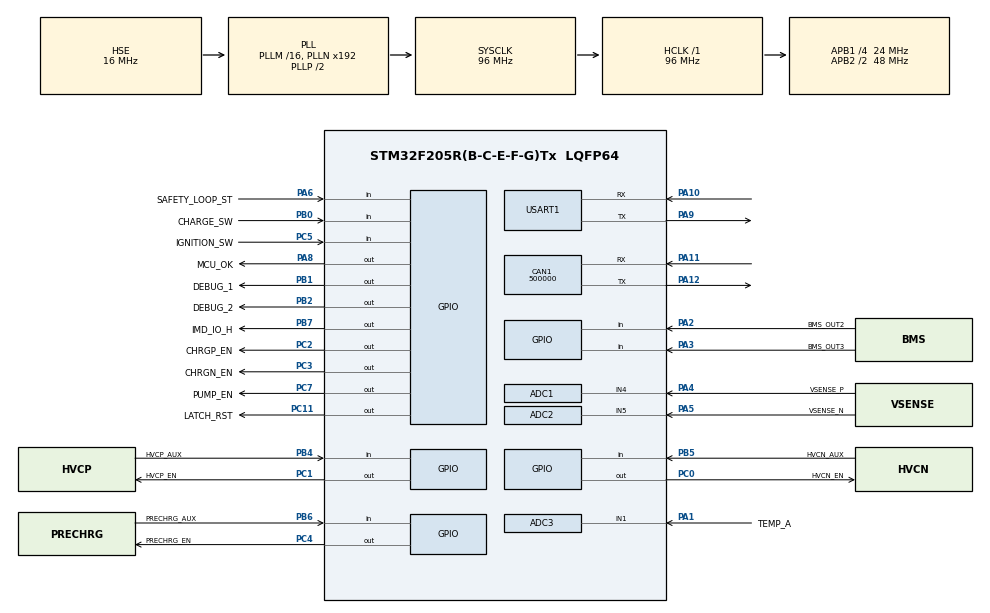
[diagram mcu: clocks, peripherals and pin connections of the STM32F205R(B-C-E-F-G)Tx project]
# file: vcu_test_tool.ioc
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ADC1.Channel-1\#ChannelRegularConversion=ADC_CHANNEL_4
ADC1.NbrOfConversionFlag=1
ADC1.Rank-1\#ChannelRegularConversion=1
ADC1.SamplingTime-1\#ChannelRegularConversion=ADC_SAMPLETIME_3CYCLES
ADC1.master=1
ADC2.Channel-0\#ChannelRegularConversion=ADC_CHANNEL_5
ADC2.ClockPrescaler=ADC_CLOCK_SYNC_PCLK_DIV2
ADC2.NbrOfConversionFlag=1
ADC2.Rank-0\#ChannelRegularConversion=1
ADC2.SamplingTime-0\#ChannelRegularConversion=ADC_SAMPLETIME_3CYCLES
ADC3.Channel-0\#ChannelRegularConversion=ADC_CHANNEL_1
ADC3.NbrOfConversionFlag=1
ADC3.Rank-0\#ChannelRegularConversion=1
ADC3.SamplingTime-0\#ChannelRegularConversion=ADC_SAMPLETIME_3CYCLES
CAN1.BS1=CAN_BS1_1TQ
CAN1.BS2=CAN_BS2_1TQ
CAN1.CalculateBaudRate=500000
CAN1.CalculateTimeBit=2000
CAN1.CalculateTimeQuantum=666.6666666666666
Mcu.Family=STM32F2
Mcu.Name=STM32F205R(B-C-E-F-G)Tx
Mcu.Package=LQFP64
NVIC.PriorityGroup=NVIC_PRIORITYGROUP_4
NVIC.USART1_IRQn=true\:0\:0\:false\:false\:true\:true\:true\:true
PA1.GPIO_Label=TEMP_A
PA1.Signal=ADCx_IN1
PA10.Mode=Asynchronous
PA10.Signal=USART1_RX
PA11.Mode=CAN_Activate
PA11.Signal=CAN1_RX
PA12.Mode=CAN_Activate
PA12.Signal=CAN1_TX
PA2.GPIO_Label=BMS_OUT2
PA2.GPIO_PuPd=GPIO_PULLDOWN
PA2.Signal=GPIO_Input
PA3.GPIO_Label=BMS_OUT3
PA3.GPIO_PuPd=GPIO_PULLDOWN
PA3.Signal=GPIO_Input
PA4.GPIO_Label=VSENSE_P
PA4.Signal=ADCx_IN4
PA5.GPIO_Label=VSENSE_N
PA5.Signal=ADCx_IN5
PA6.GPIO_Label=SAFETY_LOOP_ST
PA6.Signal=GPIO_Input
PA8.GPIO_Label=MCU_OK
PA8.Signal=GPIO_Output
PA9.Mode=Asynchronous
PA9.Signal=USART1_TX
PB0.GPIO_Label=CHARGE_SW
PB0.GPIO_PuPd=GPIO_PULLDOWN
PB0.Signal=GPIO_Input
PB1.GPIO_Label=DEBUG_1
PB1.Signal=GPIO_Output
PB2.GPIO_Label=DEBUG_2
PB2.Signal=GPIO_Output
PB4.GPIO_Label=HVCP_AUX
PB4.GPIO_PuPd=GPIO_PULLDOWN
PB4.Signal=GPIO_Input
PB5.GPIO_Label=HVCN_AUX
PB5.GPIO_PuPd=GPIO_PULLDOWN
PB5.Signal=GPIO_Input
PB6.GPIO_Label=PRECHRG_AUX
PB6.GPIO_PuPd=GPIO_PULLDOWN
PB6.Signal=GPIO_Input
PB7.GPIO_Label=IMD_IO_H
PB7.Signal=GPIO_Output
PC0.GPIO_Label=HVCN_EN
PC0.Signal=GPIO_Output
PC1.GPIO_Label=HVCP_EN
PC1.Signal=GPIO_Output
PC11.GPIO_Label=LATCH_RST
PC11.Signal=GPIO_Output
PC2.GPIO_Label=CHRGP_EN
PC2.Signal=GPIO_Output
PC3.GPIO_Label=CHRGN_EN
PC3.Signal=GPIO_Output
PC4.GPIO_Label=PRECHRG_EN
PC4.GPIO_PuPd=GPIO_NOPULL
PC4.Signal=GPIO_Output
PC5.GPIO_Label=IGNITION_SW
PC5.GPIO_PuPd=GPIO_PULLDOWN
PC5.Signal=GPIO_Input
PC7.GPIO_Label=PUMP_EN
PC7.Signal=GPIO_Output
PH0-OSC_IN.Mode=HSE-External-Oscillator
PH0-OSC_IN.Signal=RCC_OSC_IN
PH1-OSC_OUT.Mode=HSE-External-Oscillator
PH1-OSC_OUT.Signal=RCC_OSC_OUT
ProjectManager.HeapSize=0x200
ProjectManager.StackSize=0x400
ProjectManager.TargetToolchain=Makefile
RCC.48MHZClocksFreq_Value=48000000
RCC.AHBFreq_Value=96000000
RCC.APB1CLKDivider=RCC_HCLK_DIV4
RCC.APB1Freq_Value=24000000
RCC.APB1TimFreq_Value=48000000
RCC.APB2CLKDivider=RCC_HCLK_DIV2
RCC.APB2Freq_Value=48000000
RCC.APB2TimFreq_Value=96000000
RCC.CortexFreq_Value=96000000
RCC.HCLKFreq_Value=96000000
RCC.HSE_VALUE=16000000
RCC.HSI_VALUE=16000000
RCC.LSE_VALUE=32768
RCC.PLLSourceVirtual=RCC_PLLSOURCE_HSE
RCC.SYSCLKFreq_VALUE=96000000
RCC.SYSCLKSource=RCC_SYSCLKSOURCE_PLLCLK
RCC.VCOOutputFreq_Value=192000000
SH.ADCx_IN1.0=ADC3_IN1,IN1
SH.ADCx_IN4.0=ADC1_IN4,IN4
SH.ADCx_IN5.0=ADC2_IN5,IN5
USART1.VirtualMode=VM_ASYNC
board=custom

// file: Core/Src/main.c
/* USER CODE BEGIN Header */
/**
 ******************************************************************************
 * @file           : main.c
 * @brief          : Main program body
 ******************************************************************************
 * @attention
 *
 * Copyright (c) 2025 STMicroelectronics.
 * All rights reserved.
 *
 * This software is licensed under terms that can be found in the LICENSE file
 * in the root directory of this software component.
 * If no LICENSE file comes with this software, it is provided AS-IS.
 *
 ******************************************************************************
 */
/* USER CODE END Header */
#include "main.h"

/* USER CODE BEGIN Includes */
#include "cli.h"
#include "stm32f2xx_hal_gpio.h"
#include <stdio.h>
#include <string.h>
/* USER CODE END Includes */

/* USER CODE BEGIN PD */
static cli_status_t set_func(int argc, char **argv);
static cli_status_t reset_func(int argc, char **argv);
static cli_status_t read_func(int argc, char **argv);
static cli_status_t help_func(int argc, char **argv);
static cli_status_t vsense_func(int argc, char **argv);
void user_uart_println(char *string);
/* USER CODE END PD */

/* USER CODE BEGIN PM */
#define ADC_DELAY 10 // in milliseconds

/* USER CODE END PM */

ADC_HandleTypeDef hadc1;
ADC_HandleTypeDef hadc2;
ADC_HandleTypeDef hadc3;

CAN_HandleTypeDef hcan1;

UART_HandleTypeDef huart1;

/* USER CODE BEGIN PV */
cmd_t cmd_tbl[] = {
    {.cmd = "set", .func = set_func},
    {.cmd = "reset", .func = reset_func},
    {.cmd = "read", .func = read_func},
    {.cmd = "help", .func = help_func},
    {.cmd = "vsense", .func = vsense_func},
};

cli_t cli;
uint8_t rx_data[2];
/* USER CODE END PV */

void SystemClock_Config(void);
static void MX_GPIO_Init(void);
static void MX_ADC1_Init(void);
static void MX_ADC2_Init(void);
static void MX_CAN1_Init(void);
static void MX_USART1_UART_Init(void);
static void MX_ADC3_Init(void);

int main(void) {

  /* MCU Configuration--------------------------------------------------------*/

  /* Reset of all peripherals, Initializes the Flash interface and the Systick.
   */
  HAL_Init();

  /* Configure the system clock */
  SystemClock_Config();

  /* Initialize all configured peripherals */
  MX_GPIO_Init();
  MX_ADC1_Init();
  MX_ADC2_Init();
  MX_CAN1_Init();
  MX_USART1_UART_Init();
  MX_ADC3_Init();
  /* USER CODE BEGIN 2 */
  // configuring the cli lib
  cli.println = user_uart_println;
  cli.cmd_tbl = cmd_tbl;
  cli.cmd_cnt = sizeof(cmd_tbl) / sizeof(cmd_t);
  HAL_GPIO_WritePin(LATCH_RST_GPIO_Port, LATCH_RST_Pin, GPIO_PIN_SET);
  cli.println("VCU (v1.0) Test Suite v0.1\r\n");
  cli_init(&cli);
  // configuring the HAL uart interupt
  HAL_UART_Receive_IT(&huart1, rx_data, 1);
  /* USER CODE END 2 */

  /* Infinite loop */
  /* USER CODE BEGIN WHILE */
  while (1) {
    cli_process(&cli);
    /* USER CODE END WHILE */

  }
}

void SystemClock_Config(void) {
  RCC_OscInitTypeDef RCC_OscInitStruct = {0};
  RCC_ClkInitTypeDef RCC_ClkInitStruct = {0};

  /** Initializes the RCC Oscillators according to the specified parameters
   * in the RCC_OscInitTypeDef structure.
   */
  RCC_OscInitStruct.OscillatorType = RCC_OSCILLATORTYPE_HSE;
  RCC_OscInitStruct.HSEState = RCC_HSE_ON;
  RCC_OscInitStruct.PLL.PLLState = RCC_PLL_ON;
  RCC_OscInitStruct.PLL.PLLSource = RCC_PLLSOURCE_HSE;
  RCC_OscInitStruct.PLL.PLLM = 16;
  RCC_OscInitStruct.PLL.PLLN = 192;
  RCC_OscInitStruct.PLL.PLLP = RCC_PLLP_DIV2;
  RCC_OscInitStruct.PLL.PLLQ = 4;
  if (HAL_RCC_OscConfig(&RCC_OscInitStruct) != HAL_OK) {
    Error_Handler();
  }

  /** Initializes the CPU, AHB and APB buses clocks
   */
  RCC_ClkInitStruct.ClockType = RCC_CLOCKTYPE_HCLK | RCC_CLOCKTYPE_SYSCLK |
                                RCC_CLOCKTYPE_PCLK1 | RCC_CLOCKTYPE_PCLK2;
  RCC_ClkInitStruct.SYSCLKSource = RCC_SYSCLKSOURCE_PLLCLK;
  RCC_ClkInitStruct.AHBCLKDivider = RCC_SYSCLK_DIV1;
  RCC_ClkInitStruct.APB1CLKDivider = RCC_HCLK_DIV4;
  RCC_ClkInitStruct.APB2CLKDivider = RCC_HCLK_DIV2;

  if (HAL_RCC_ClockConfig(&RCC_ClkInitStruct, FLASH_LATENCY_3) != HAL_OK) {
    Error_Handler();
  }
}

static void MX_ADC1_Init(void) {

  ADC_ChannelConfTypeDef sConfig = {0};

  /** Configure the global features of the ADC (Clock, Resolution, Data
   * Alignment and number of conversion)
   */
  hadc1.Instance = ADC1;
  hadc1.Init.ClockPrescaler = ADC_CLOCK_SYNC_PCLK_DIV2;
  hadc1.Init.Resolution = ADC_RESOLUTION_12B;
  hadc1.Init.ScanConvMode = DISABLE;
  hadc1.Init.ContinuousConvMode = DISABLE;
  hadc1.Init.DiscontinuousConvMode = DISABLE;
  hadc1.Init.ExternalTrigConvEdge = ADC_EXTERNALTRIGCONVEDGE_NONE;
  hadc1.Init.ExternalTrigConv = ADC_SOFTWARE_START;
  hadc1.Init.DataAlign = ADC_DATAALIGN_RIGHT;
  hadc1.Init.NbrOfConversion = 1;
  hadc1.Init.DMAContinuousRequests = DISABLE;
  hadc1.Init.EOCSelection = ADC_EOC_SINGLE_CONV;
  if (HAL_ADC_Init(&hadc1) != HAL_OK) {
    Error_Handler();
  }

  /** Configure for the selected ADC regular channel its corresponding rank in
   * the sequencer and its sample time.
   */
  sConfig.Channel = ADC_CHANNEL_4;
  sConfig.Rank = 1;
  sConfig.SamplingTime = ADC_SAMPLETIME_3CYCLES;
  if (HAL_ADC_ConfigChannel(&hadc1, &sConfig) != HAL_OK) {
    Error_Handler();
  }
}

static void MX_ADC2_Init(void) {

  ADC_ChannelConfTypeDef sConfig = {0};

  /** Configure the global features of the ADC (Clock, Resolution, Data
   * Alignment and number of conversion)
   */
  hadc2.Instance = ADC2;
  hadc2.Init.ClockPrescaler = ADC_CLOCK_SYNC_PCLK_DIV2;
  hadc2.Init.Resolution = ADC_RESOLUTION_12B;
  hadc2.Init.ScanConvMode = DISABLE;
  hadc2.Init.ContinuousConvMode = DISABLE;
  hadc2.Init.DiscontinuousConvMode = DISABLE;
  hadc2.Init.ExternalTrigConvEdge = ADC_EXTERNALTRIGCONVEDGE_NONE;
  hadc2.Init.ExternalTrigConv = ADC_SOFTWARE_START;
  hadc2.Init.DataAlign = ADC_DATAALIGN_RIGHT;
  hadc2.Init.NbrOfConversion = 1;
  hadc2.Init.DMAContinuousRequests = DISABLE;
  hadc2.Init.EOCSelection = ADC_EOC_SINGLE_CONV;
  if (HAL_ADC_Init(&hadc2) != HAL_OK) {
    Error_Handler();
  }

  /** Configure for the selected ADC regular channel its corresponding rank in
   * the sequencer and its sample time.
   */
  sConfig.Channel = ADC_CHANNEL_5;
  sConfig.Rank = 1;
  sConfig.SamplingTime = ADC_SAMPLETIME_3CYCLES;
  if (HAL_ADC_ConfigChannel(&hadc2, &sConfig) != HAL_OK) {
    Error_Handler();
  }
}

static void MX_ADC3_Init(void) {

  ADC_ChannelConfTypeDef sConfig = {0};

  /** Configure the global features of the ADC (Clock, Resolution, Data
   * Alignment and number of conversion)
   */
  hadc3.Instance = ADC3;
  hadc3.Init.ClockPrescaler = ADC_CLOCK_SYNC_PCLK_DIV2;
  hadc3.Init.Resolution = ADC_RESOLUTION_12B;
  hadc3.Init.ScanConvMode = DISABLE;
  hadc3.Init.ContinuousConvMode = DISABLE;
  hadc3.Init.DiscontinuousConvMode = DISABLE;
  hadc3.Init.ExternalTrigConvEdge = ADC_EXTERNALTRIGCONVEDGE_NONE;
  hadc3.Init.ExternalTrigConv = ADC_SOFTWARE_START;
  hadc3.Init.DataAlign = ADC_DATAALIGN_RIGHT;
  hadc3.Init.NbrOfConversion = 1;
  hadc3.Init.DMAContinuousRequests = DISABLE;
  hadc3.Init.EOCSelection = ADC_EOC_SINGLE_CONV;
  if (HAL_ADC_Init(&hadc3) != HAL_OK) {
    Error_Handler();
  }

  /** Configure for the selected ADC regular channel its corresponding rank in
   * the sequencer and its sample time.
   */
  sConfig.Channel = ADC_CHANNEL_1;
  sConfig.Rank = 1;
  sConfig.SamplingTime = ADC_SAMPLETIME_3CYCLES;
  if (HAL_ADC_ConfigChannel(&hadc3, &sConfig) != HAL_OK) {
    Error_Handler();
  }
}

static void MX_CAN1_Init(void) {

  hcan1.Instance = CAN1;
  hcan1.Init.Prescaler = 16;
  hcan1.Init.Mode = CAN_MODE_NORMAL;
  hcan1.Init.SyncJumpWidth = CAN_SJW_1TQ;
  hcan1.Init.TimeSeg1 = CAN_BS1_1TQ;
  hcan1.Init.TimeSeg2 = CAN_BS2_1TQ;
  hcan1.Init.TimeTriggeredMode = DISABLE;
  hcan1.Init.AutoBusOff = DISABLE;
  hcan1.Init.AutoWakeUp = DISABLE;
  hcan1.Init.AutoRetransmission = DISABLE;
  hcan1.Init.ReceiveFifoLocked = DISABLE;
  hcan1.Init.TransmitFifoPriority = DISABLE;
  if (HAL_CAN_Init(&hcan1) != HAL_OK) {
    Error_Handler();
  }
}

static void MX_USART1_UART_Init(void) {

  huart1.Instance = USART1;
  huart1.Init.BaudRate = 115200;
  huart1.Init.WordLength = UART_WORDLENGTH_8B;
  huart1.Init.StopBits = UART_STOPBITS_1;
  huart1.Init.Parity = UART_PARITY_NONE;
  huart1.Init.Mode = UART_MODE_TX_RX;
  huart1.Init.HwFlowCtl = UART_HWCONTROL_NONE;
  huart1.Init.OverSampling = UART_OVERSAMPLING_16;
  if (HAL_UART_Init(&huart1) != HAL_OK) {
    Error_Handler();
  }
}

static void MX_GPIO_Init(void) {
  GPIO_InitTypeDef GPIO_InitStruct = {0};

  /* GPIO Ports Clock Enable */
  __HAL_RCC_GPIOH_CLK_ENABLE();
  __HAL_RCC_GPIOC_CLK_ENABLE();
  __HAL_RCC_GPIOA_CLK_ENABLE();
  __HAL_RCC_GPIOB_CLK_ENABLE();

  /*Configure GPIO pin Output Level */
  HAL_GPIO_WritePin(GPIOC,
                    HVCN_EN_Pin | HVCP_EN_Pin | CHRGP_EN_Pin | CHRGN_EN_Pin |
                        PRECHRG_EN_Pin | PUMP_EN_Pin | LATCH_RST_Pin,
                    GPIO_PIN_RESET);

  /*Configure GPIO pin Output Level */
  HAL_GPIO_WritePin(GPIOB, DEBUG_1_Pin | DEBUG_2_Pin | IMD_IO_H_Pin,
                    GPIO_PIN_RESET);

  /*Configure GPIO pin Output Level */
  HAL_GPIO_WritePin(MCU_OK_GPIO_Port, MCU_OK_Pin, GPIO_PIN_RESET);

  /*Configure GPIO pins : HVCN_EN_Pin HVCP_EN_Pin CHRGP_EN_Pin CHRGN_EN_Pin
                           PRECHRG_EN_Pin PUMP_EN_Pin LATCH_RST_Pin */
  GPIO_InitStruct.Pin = HVCN_EN_Pin | HVCP_EN_Pin | CHRGP_EN_Pin |
                        CHRGN_EN_Pin | PRECHRG_EN_Pin | PUMP_EN_Pin |
                        LATCH_RST_Pin;
  GPIO_InitStruct.Mode = GPIO_MODE_OUTPUT_PP;
  GPIO_InitStruct.Pull = GPIO_NOPULL;
  GPIO_InitStruct.Speed = GPIO_SPEED_FREQ_LOW;
  HAL_GPIO_Init(GPIOC, &GPIO_InitStruct);

  /*Configure GPIO pins : BMS_OUT2_Pin BMS_OUT3_Pin */
  GPIO_InitStruct.Pin = BMS_OUT2_Pin | BMS_OUT3_Pin;
  GPIO_InitStruct.Mode = GPIO_MODE_INPUT;
  GPIO_InitStruct.Pull = GPIO_PULLDOWN;
  HAL_GPIO_Init(GPIOA, &GPIO_InitStruct);

  /*Configure GPIO pin : SAFETY_LOOP_ST_Pin */
  GPIO_InitStruct.Pin = SAFETY_LOOP_ST_Pin;
  GPIO_InitStruct.Mode = GPIO_MODE_INPUT;
  GPIO_InitStruct.Pull = GPIO_NOPULL;
  HAL_GPIO_Init(SAFETY_LOOP_ST_GPIO_Port, &GPIO_InitStruct);

  /*Configure GPIO pin : IGNITION_SW_Pin */
  GPIO_InitStruct.Pin = IGNITION_SW_Pin;
  GPIO_InitStruct.Mode = GPIO_MODE_INPUT;
  GPIO_InitStruct.Pull = GPIO_PULLDOWN;
  HAL_GPIO_Init(IGNITION_SW_GPIO_Port, &GPIO_InitStruct);

  /*Configure GPIO pins : CHARGE_SW_Pin HVCP_AUX_Pin HVCN_AUX_Pin
   * PRECHRG_AUX_Pin */
  GPIO_InitStruct.Pin =
      CHARGE_SW_Pin | HVCP_AUX_Pin | HVCN_AUX_Pin | PRECHRG_AUX_Pin;
  GPIO_InitStruct.Mode = GPIO_MODE_INPUT;
  GPIO_InitStruct.Pull = GPIO_PULLDOWN;
  HAL_GPIO_Init(GPIOB, &GPIO_InitStruct);

  /*Configure GPIO pins : DEBUG_1_Pin DEBUG_2_Pin IMD_IO_H_Pin */
  GPIO_InitStruct.Pin = DEBUG_1_Pin | DEBUG_2_Pin | IMD_IO_H_Pin;
  GPIO_InitStruct.Mode = GPIO_MODE_OUTPUT_PP;
  GPIO_InitStruct.Pull = GPIO_NOPULL;
  GPIO_InitStruct.Speed = GPIO_SPEED_FREQ_LOW;
  HAL_GPIO_Init(GPIOB, &GPIO_InitStruct);

  /*Configure GPIO pin : MCU_OK_Pin */
  GPIO_InitStruct.Pin = MCU_OK_Pin;
  GPIO_InitStruct.Mode = GPIO_MODE_OUTPUT_PP;
  GPIO_InitStruct.Pull = GPIO_NOPULL;
  GPIO_InitStruct.Speed = GPIO_SPEED_FREQ_LOW;
  HAL_GPIO_Init(MCU_OK_GPIO_Port, &GPIO_InitStruct);

}

/* USER CODE BEGIN 4 */
void HAL_UART_RxCpltCallback(UART_HandleTypeDef *huart) {
  HAL_UART_Receive_IT(&huart1, rx_data, 1);
  cli_put(&cli, rx_data[0]);
  user_uart_println((char *)rx_data);
}

void user_uart_println(char *string) {
  HAL_UART_Transmit(&huart1, (uint8_t *)string, strlen(string), HAL_MAX_DELAY);
}

cli_status_t set_func(int argc, char **argv) {
  if (argc == 2) {
    if (strcmp(argv[1], "--help") == 0) {
      cli.println("Pass the pin name as an argument to the function...");
    } else if (strcmp(argv[1], "MCU_OK") == 0) {
      HAL_GPIO_WritePin(MCU_OK_GPIO_Port, MCU_OK_Pin, GPIO_PIN_SET);
      cli.println("SET MCU_OK");
    } else if (strcmp(argv[1], "DEBUG_1") == 0) {
      HAL_GPIO_WritePin(DEBUG_1_GPIO_Port, DEBUG_1_Pin, GPIO_PIN_SET);
      cli.println("SET DEBUG_1");
    } else if (strcmp(argv[1], "DEBUG_2") == 0) {
      HAL_GPIO_WritePin(DEBUG_2_GPIO_Port, DEBUG_2_Pin, GPIO_PIN_SET);
      cli.println("SET DEBUG_2");
    } else if (strcmp(argv[1], "HVCN_EN") == 0) {
      HAL_GPIO_WritePin(HVCN_EN_GPIO_Port, HVCN_EN_Pin, GPIO_PIN_SET);
      cli.println("SET HVCN_EN");
    } else if (strcmp(argv[1], "HVCP_EN") == 0) {
      HAL_GPIO_WritePin(HVCP_EN_GPIO_Port, HVCP_EN_Pin, GPIO_PIN_SET);
      cli.println("SET HVCP_EN");
    } else if (strcmp(argv[1], "CHRGN_EN") == 0) {
      HAL_GPIO_WritePin(CHRGN_EN_GPIO_Port, CHRGN_EN_Pin, GPIO_PIN_SET);
      cli.println("SET CHRGN_EN");
    } else if (strcmp(argv[1], "CHRGP_EN") == 0) {
      HAL_GPIO_WritePin(CHRGP_EN_GPIO_Port, CHRGP_EN_Pin, GPIO_PIN_SET);
      cli.println("SET CHRGP_EN");
    } else if (strcmp(argv[1], "PRECHRG_EN") == 0) {
      HAL_GPIO_WritePin(PRECHRG_EN_GPIO_Port, PRECHRG_EN_Pin, GPIO_PIN_SET);
      cli.println("SET PRECHRG_EN");
    } else if (strcmp(argv[1], "PUMP_EN") == 0) {
      HAL_GPIO_WritePin(PUMP_EN_GPIO_Port, PUMP_EN_Pin, GPIO_PIN_SET);
      cli.println("SET PUMP_EN");
    } else if (strcmp(argv[1], "LATCH_RST") == 0) {
      HAL_GPIO_WritePin(LATCH_RST_GPIO_Port, LATCH_RST_Pin, GPIO_PIN_SET);
      cli.println("SET LATCH_RST");
    } else {
      cli.println("ERROR: Invalid Pin Name\r\nPass the pin name as an argument "
                  "to the function...");
      return CLI_E_INVALID_ARGS;
    }
  } else {
    cli.println("ERROR: `set` Requires One Pin Name\r\nPass the pin name as an "
                "argument to the function...");
    return CLI_E_INVALID_ARGS;
  }
  return CLI_OK;
}

cli_status_t reset_func(int argc, char **argv) {
  if (argc == 2) {
    if (strcmp(argv[1], "--help") == 0) {
      cli.println("Pass the pin name as an argument to the function...");
    } else if (strcmp(argv[1], "MCU_OK") == 0) {
      HAL_GPIO_WritePin(MCU_OK_GPIO_Port, MCU_OK_Pin, GPIO_PIN_RESET);
      cli.println("RESET MCU_OK");
    } else if (strcmp(argv[1], "DEBUG_1") == 0) {
      HAL_GPIO_WritePin(DEBUG_1_GPIO_Port, DEBUG_1_Pin, GPIO_PIN_RESET);
      cli.println("RESET DEBUG_1");
    } else if (strcmp(argv[1], "DEBUG_2") == 0) {
      HAL_GPIO_WritePin(DEBUG_2_GPIO_Port, DEBUG_2_Pin, GPIO_PIN_RESET);
      cli.println("RESET DEBUG_2");
    } else if (strcmp(argv[1], "HVCN_EN") == 0) {
      HAL_GPIO_WritePin(HVCN_EN_GPIO_Port, HVCN_EN_Pin, GPIO_PIN_RESET);
      cli.println("RESET HVCN_EN");
    } else if (strcmp(argv[1], "HVCP_EN") == 0) {
      HAL_GPIO_WritePin(HVCP_EN_GPIO_Port, HVCP_EN_Pin, GPIO_PIN_RESET);
      cli.println("RESET HVCP_EN");
    } else if (strcmp(argv[1], "CHRGN_EN") == 0) {
      HAL_GPIO_WritePin(CHRGN_EN_GPIO_Port, CHRGN_EN_Pin, GPIO_PIN_RESET);
      cli.println("RESET CHRGN_EN");
    } else if (strcmp(argv[1], "CHRGP_EN") == 0) {
      HAL_GPIO_WritePin(CHRGP_EN_GPIO_Port, CHRGP_EN_Pin, GPIO_PIN_RESET);
      cli.println("RESET CHRGP_EN");
    } else if (strcmp(argv[1], "PRECHRG_EN") == 0) {
      HAL_GPIO_WritePin(PRECHRG_EN_GPIO_Port, PRECHRG_EN_Pin, GPIO_PIN_RESET);
      cli.println("RESET PRECHRG_EN");
    } else if (strcmp(argv[1], "PUMP_EN") == 0) {
      HAL_GPIO_WritePin(PUMP_EN_GPIO_Port, PUMP_EN_Pin, GPIO_PIN_RESET);
      cli.println("RESET PUMP_EN");
    } else if (strcmp(argv[1], "LATCH_RST") == 0) {
      HAL_GPIO_WritePin(LATCH_RST_GPIO_Port, LATCH_RST_Pin, GPIO_PIN_RESET);
      cli.println("RESET LATCH_RST");
    } else {
      cli.println("ERROR: Invalid Pin Name\r\nPass the pin name as an argument "
                  "to the function...");
      return CLI_E_INVALID_ARGS;
    }
  } else {
    cli.println(
        "ERROR: `reset` Requires One Pin Name\r\nPass the pin name as an "
        "argument to the function...");
    return CLI_E_INVALID_ARGS;
  }
  return CLI_OK;
}

cli_status_t read_func(int argc, char **argv) {
  GPIO_PinState pin_state;
  if (argc == 2) {
    if (strcmp(argv[1], "--help") == 0) {
      cli.println("Pass the pin name as an argument to the function...");
    } else if (strcmp(argv[1], "SAFETY_LOOP_ST") == 0) {
      pin_state =
          HAL_GPIO_ReadPin(SAFETY_LOOP_ST_GPIO_Port, SAFETY_LOOP_ST_Pin);
    } else if (strcmp(argv[1], "BMS_OUT2") == 0) {
      pin_state = HAL_GPIO_ReadPin(BMS_OUT2_GPIO_Port, BMS_OUT2_Pin);
    } else if (strcmp(argv[1], "BMS_OUT3") == 0) {
      pin_state = HAL_GPIO_ReadPin(BMS_OUT3_GPIO_Port, BMS_OUT3_Pin);
    } else if (strcmp(argv[1], "CHARGE_SW") == 0) {
      pin_state = HAL_GPIO_ReadPin(CHARGE_SW_GPIO_Port, CHARGE_SW_Pin);
    } else if (strcmp(argv[1], "IGNITION_SW") == 0) {
      pin_state = HAL_GPIO_ReadPin(IGNITION_SW_GPIO_Port, IGNITION_SW_Pin);
    } else if (strcmp(argv[1], "HVCP_AUX") == 0) {
      pin_state = HAL_GPIO_ReadPin(HVCP_AUX_GPIO_Port, HVCP_AUX_Pin);
    } else if (strcmp(argv[1], "HVCN_AUX") == 0) {
      pin_state = HAL_GPIO_ReadPin(HVCN_AUX_GPIO_Port, HVCN_AUX_Pin);
    } else if (strcmp(argv[1], "PRECHRG_AUX") == 0) {
      pin_state = HAL_GPIO_ReadPin(PRECHRG_AUX_GPIO_Port, PRECHRG_AUX_Pin);
    } else {
      cli.println("ERROR: Invalid Pin Name\r\nPass the pin name as an argument "
                  "to the function...");
      return CLI_E_INVALID_ARGS;
    }
  } else {
    cli.println(
        "ERROR: `read` Requires One Pin Name\r\nPass the pin name as an "
        "argument to the function...");
    return CLI_E_INVALID_ARGS;
  }
  if (pin_state == GPIO_PIN_SET) {
    cli.println("pin is HIGH");
  } else if (pin_state == GPIO_PIN_RESET) {
    cli.println("pin is LOW");
  } else {
    cli.println("pin is UNKNOWN");
  }
  return CLI_OK;
}
cli_status_t help_func(int argc, char **argv) {
  cli.println("deal with this later...");
  return CLI_OK;
}
cli_status_t vsense_func(int argc, char **argv) {
  uint32_t adc_sum_high = 0;
  uint32_t adc_sum_low  = 0;
  char buf[50];

  // Reads ADC 10 times
  for(int i = 0; i<10; i++){
    HAL_ADC_Start(&hadc1); // Needs to be called every time
    HAL_ADC_PollForConversion(&hadc1, HAL_MAX_DELAY);
    adc_sum_high += HAL_ADC_GetValue(&hadc1);
    HAL_Delay(ADC_DELAY);
  }

  uint16_t value_adc_high = adc_sum_high / 10;
  sprintf(buf, "adc_high value %i\r\n", value_adc_high);
  cli.println(buf);

  // Reads ADC 10 times
  for(int i = 0; i<10; i++){
    HAL_ADC_Start(&hadc2); // Needs to be called every time
    HAL_ADC_PollForConversion(&hadc2, HAL_MAX_DELAY);
    adc_sum_low += HAL_ADC_GetValue(&hadc2);
    HAL_Delay(ADC_DELAY);
  }

  uint16_t value_adc_low = adc_sum_low / 10;
  sprintf(buf, "adc_low value %i\r\n", value_adc_low);
  cli.println(buf);

  uint16_t vsense_unscaled;
  if( value_adc_high > value_adc_low){  // Adding this comparision to prevent overflow.
    vsense_unscaled = value_adc_high - value_adc_low;
    sprintf(buf, "high>low adc value %i\r\n", vsense_unscaled);
    cli.println(buf);
  }else {
    vsense_unscaled = value_adc_low - value_adc_high;
    sprintf(buf, "low>high adc value %i\r\n", vsense_unscaled); // Not sure if this case will be called, but it is here just in case.
    cli.println(buf);
  }

  float voltage =
      (float)vsense_unscaled * 0.04174358974; //  103.6 /(4095*2/3.3)
  uint16_t voltage_int = voltage * 100;
  sprintf(buf, "voltage value %i\r\n", voltage_int);
  cli.println(buf);

  return CLI_OK;
}
/* USER CODE END 4 */

void Error_Handler(void) {
  __disable_irq();
  while (1) {
  }
}

#ifdef USE_FULL_ASSERT
/**
 * @brief  Reports the name of the source file and the source line number
 *         where the assert_param error has occurred.
 * @param  file: pointer to the source file name
 * @param  line: assert_param error line source number
 * @retval None
 */
void assert_failed(uint8_t *file, uint32_t line) {
  /* USER CODE BEGIN 6 */
  /* User can add his own implementation to report the file name and line
     number, ex: printf("Wrong parameters value: file %s on line %d\r\n", file,
     line) */
  /* USER CODE END 6 */
}
#endif /* USE_FULL_ASSERT */
